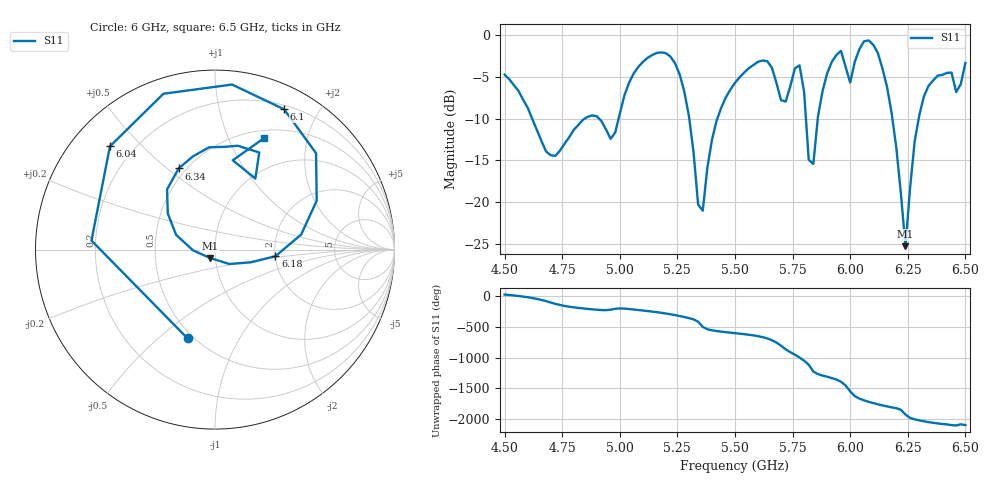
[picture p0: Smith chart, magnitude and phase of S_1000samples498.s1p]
! TOUCHSTONE file generated by CST MICROWAVE STUDIO
! Date and time: Fri Oct 28 09:11:29 2022
! Project name: L.cst
! Parameters = {Di=1.27; Epsilon_r=1.56; InnerDiameter=1.27; Length=2; Lf=10; Lg=60; OuterConductorThickness=0.2921; OuterDiameter=3.6; Wf=3; Wp=41.2; de=1.5; df=6.8; g=0.8; gx=3.6393; gy=0.588337; h=2.34; hf=1.524; px=14.7272; py=13.7935; w=9.7; wx=11.0879; wy=13.2051}
! Header version: 2018
! Port assignment regex: !\s*Touchstone port\s*([0-9]+)\s*=\s*(CST MWS port|CST DS port)\s*([0-9]+|Zmin|Zmax)\s*\(\"(.*)\"\)(\s*mode\s*([0-9]+))?.*
! Touchstone port assignment:
! Touchstone port 1 = CST MWS port 1 ("")
# GHz S DB R 50
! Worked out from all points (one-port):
!   101 points, 4.5 GHz to 6.5 GHz, reference 50 ohm
!   lowest |S11| = -25.2 dB at 6.24 GHz (marker M1), VSWR 1.12, Z = 46.9 - j4.33 ohm
!   |S11| at or under -10 dB: 4.619 GHz to 4.849 GHz (229.6 MHz wide, 4.85 % of centre); 5.301 GHz to 5.424 GHz (122.1 MHz wide, 2.28 % of centre); 6.183 GHz to 6.297 GHz (114.4 MHz wide, 1.83 % of centre) (the widest 3 of 5)
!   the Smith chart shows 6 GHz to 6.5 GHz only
!   S11 on the Smith chart (normalised r, x): 6 GHz: 0.46, -0.63; 6.04 GHz: 0.11, +0.40; 6.1 GHz: 0.24, +1.58; 6.18 GHz: 2.01, -0.17; 6.34 GHz: 0.46, +0.55; 6.5 GHz: 0.59, +1.36
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4.5  -4.77 24.1
4.64  -11.36 -46.1
4.76  -13.01 -160.8
5  -9.43 159.2
5.16  -2.17 98.5
5.26  -4.74 35.2
5.36  -21.01 -139.1
5.5  -5.74 118.0
5.6  -3.23 68.8
5.66  -3.92 3.5
5.7  -7.82 -86.3
5.76  -4.01 128.4
5.78  -3.65 82.5
5.8  -6.83 31.3
5.84  -15.43 -144.9
5.9  -4.62 130.4
5.94  -2.42 85.6
5.96  -1.92 49.8
5.98  -3.82 -11.0
6  -5.71 -107.1
6.02  -3.22 175.8
6.04  -1.72 135.5
6.1  -1.20 63.8
6.18  -9.40 -6.2
6.24  -25.24 -122.8
6.26  -18.26 -178.0
6.34  -6.10 114.1
6.5  -3.38 66.3
